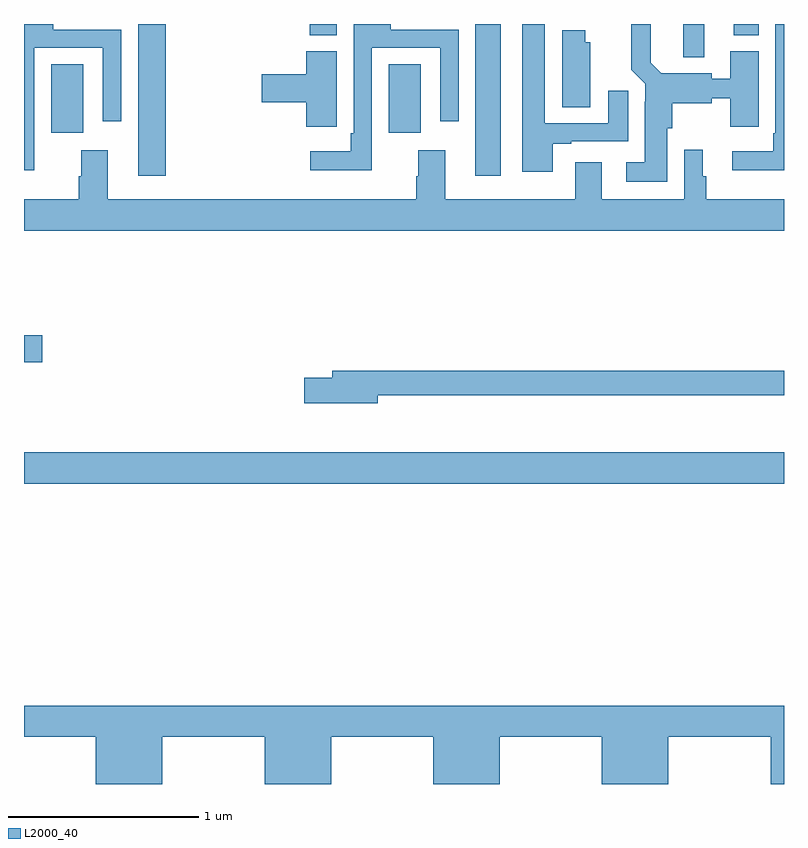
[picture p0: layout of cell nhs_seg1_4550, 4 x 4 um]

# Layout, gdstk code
import gdstk
lib = gdstk.Library(unit=1e-6, precision=1e-09)
def R(c, l, rs):  # rectangles x0, y0, x1, y1
    for r in rs: c.add(gdstk.rectangle(r[:2], r[2:], *l))
def P(c, l, *ps):  # polygons
    for p in ps: c.add(gdstk.Polygon(p, *l))
L2000_40 = (2000, 40)

nhs_seg1_4550 = lib.new_cell('nhs_seg1_4550')
R(nhs_seg1_4550, L2000_40, [(359,503.78,363,503.944), (359,504.418,359.095,504.56), (359.6,505.401,359.747,506.199), (361.376,505.401,361.51,506.199), (359.144,505.626,359.311,505.988), (360.92,505.626,361.087,505.988), (362.471,506.024,362.581,506.199), (360.503,506.14,360.646,506.199), (362.735,506.14,362.866,506.199)])
P(nhs_seg1_4550, L2000_40, [(363,506.199),(362.955,506.199),(362.955,505.624),(362.943,505.624),(362.943,505.528),(362.727,505.528),(362.727,505.43),(363,505.43)],
  [(360.831,506.073),(361.191,506.073),(361.191,505.686),(361.287,505.686),(361.287,506.169),(360.931,506.169),(360.931,506.199),(360.735,506.199),(360.735,505.624),(360.719,505.624),(360.719,505.528),(360.507,505.528),(360.507,505.43),(360.831,505.43)],
  [(359.055,506.073),(359.415,506.073),(359.415,505.686),(359.511,505.686),(359.511,506.169),(359.155,506.169),(359.155,506.199),(359,506.199),(359,505.43),(359.055,505.43)],
  [(362.386,505.65),(362.412,505.65),(362.412,505.781),(362.62,505.781),(362.62,505.807),(362.717,505.807),(362.717,505.659),(362.866,505.659),(362.866,506.055),(362.717,506.055),(362.717,505.911),(362.62,505.911),(362.62,505.939),(362.355,505.939),(362.299,505.996),(362.299,506.199),(362.197,506.199),(362.197,505.958),(362.271,505.884),(362.271,505.79),(362.267,505.79),(362.267,505.471),(362.169,505.471),(362.169,505.37),(362.386,505.37)],
  [(361.783,505.569),(361.879,505.569),(361.879,505.581),(362.179,505.581),(362.179,505.849),(362.075,505.849),(362.075,505.677),(361.741,505.677),(361.741,506.199),(361.622,506.199),(361.622,505.422),(361.783,505.422)],
  [(361.981,506.103),(361.954,506.103),(361.954,506.167),(361.832,506.167),(361.832,505.762),(361.981,505.762)],
  [(360.645,505.771),(360.646,505.771),(360.646,506.055),(360.485,506.055),(360.485,505.934),(360.252,505.934),(360.252,505.787),(360.485,505.787),(360.485,505.659),(360.645,505.659)],
  [(363,505.276),(362.591,505.276),(362.591,505.398),(362.572,505.398),(362.572,505.537),(362.475,505.537),(362.475,505.276),(362.041,505.276),(362.041,505.471),(361.901,505.471),(361.901,505.276),(361.216,505.276),(361.216,505.534),(361.076,505.534),(361.076,505.397),(361.064,505.397),(361.064,505.276),(359.44,505.276),(359.44,505.534),(359.3,505.534),(359.3,505.397),(359.288,505.397),(359.288,505.276),(359,505.276),(359,505.112),(363,505.112)],
  [(360.862,504.246),(363,504.246),(363,504.374),(360.623,504.374),(360.623,504.338),(360.474,504.338),(360.474,504.203),(360.862,504.203)],
  [(359.728,502.448),(360.266,502.448),(360.266,502.199),(360.616,502.199),(360.616,502.448),(361.154,502.448),(361.154,502.199),(361.504,502.199),(361.504,502.448),(362.042,502.448),(362.042,502.199),(362.392,502.199),(362.392,502.448),(362.93,502.448),(362.93,502.199),(363,502.199),(363,502.612),(359,502.612),(359,502.448),(359.378,502.448),(359.378,502.199),(359.728,502.199)])

lib.write_gds('nhs_seg1_4550.gds')
